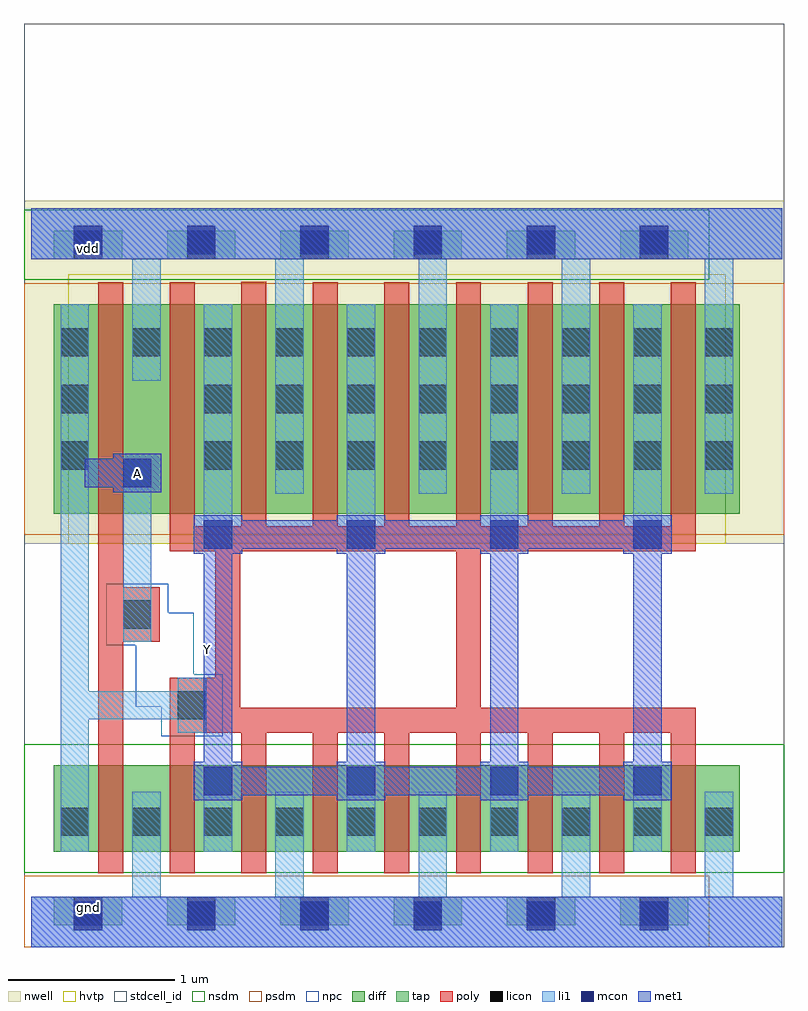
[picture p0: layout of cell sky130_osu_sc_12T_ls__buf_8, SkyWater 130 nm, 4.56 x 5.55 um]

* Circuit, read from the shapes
.subckt sky130_osu_sc_12T_ls__buf_8 A Y gnd vdd
XM1 gnd A n1 gnd sky130_fd_pr__nfet_01v8 w=0.52 l=0.15
XM2 Y n1 gnd gnd sky130_fd_pr__nfet_01v8 w=0.52 l=0.15 m=8
XM3 vdd A n1 vdd sky130_fd_pr__pfet_01v8_hvt w=1.26 l=0.15
XM4 Y n1 vdd vdd sky130_fd_pr__pfet_01v8_hvt w=1.26 l=0.15 m=8
.ends

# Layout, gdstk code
import gdstk
lib = gdstk.Library(unit=1e-6, precision=1e-09)
def R(c, l, rs):  # rectangles x0, y0, x1, y1
    for r in rs: c.add(gdstk.rectangle(r[:2], r[2:], *l))
def A(c, l, x, y, w, h, nx, ny, dx, dy):  # array of equal rectangles
    R(c, l, [(x+i*dx, y+j*dy, x+i*dx+w, y+j*dy+h) for i in range(nx) for j in range(ny)])
nwell = (64, 20)
diff = (65, 20)
tap = (65, 44)
poly = (66, 20)
licon = (66, 44)
li1 = (67, 20)
mcon = (67, 44)
met1 = (68, 20)
hvtp = (78, 44)
stdcell_id = (81, 4)
nsdm = (93, 44)
psdm = (94, 20)
npc = (95, 20)

sky130_osu_sc_12t_ls__bu = lib.new_cell('sky130_osu_sc_12T_ls__buf_8')
R(sky130_osu_sc_12t_ls__bu, nwell, [(-0.045,2.425,4.52,4.485)])
R(sky130_osu_sc_12t_ls__bu, diff, [(0.135,0.575,4.255,1.095), (0.135,2.605,4.255,3.865)])
A(sky130_osu_sc_12t_ls__bu, tap, 0.135, 0.135, 0.41, 0.17, 6, 2, 0.68, 4)
A(sky130_osu_sc_12t_ls__bu, poly, 0.83, 0.445, 0.15, 0.845, 8, 1, 0.43, 0)
A(sky130_osu_sc_12t_ls__bu, poly, 1.69, 2.53, 0.15, 1.465, 6, 1, 0.43, 0)
R(sky130_osu_sc_12t_ls__bu, poly, [(0.4,0.445,0.55,1.835), (0.83,1.29,3.99,1.44), (0.83,1.44,1.255,1.62), (2.55,1.44,2.7,2.38), (1.105,1.62,1.255,2.38), (0.4,1.835,0.77,2.165), (0.4,2.165,0.55,3.995), (0.83,2.38,3.99,2.53), (0.83,2.53,0.98,3.995), (1.26,2.53,1.41,4)])
A(sky130_osu_sc_12t_ls__bu, licon, 0.255, 0.135, 0.17, 0.17, 6, 2, 0.68, 4)
A(sky130_osu_sc_12t_ls__bu, licon, 0.175, 0.67, 0.17, 0.17, 10, 2, 0.43, 2.88)
A(sky130_osu_sc_12t_ls__bu, licon, 1.035, 2.87, 0.17, 0.17, 8, 2, 0.43, 0.34)
R(sky130_osu_sc_12t_ls__bu, licon, [(0.88,1.37,1.05,1.54), (0.55,1.915,0.72,2.085), (0.175,2.87,0.345,3.04), (0.175,3.21,0.345,3.38)])
A(sky130_osu_sc_12t_ls__bu, li1, 0.605, 0.305, 0.17, 0.63, 5, 1, 0.86, 0)
A(sky130_osu_sc_12t_ls__bu, li1, 1.035, 0.575, 0.17, 0.51, 4, 1, 0.86, 0)
A(sky130_osu_sc_12t_ls__bu, li1, 1.035, 2.395, 0.17, 1.47, 4, 1, 0.86, 0)
A(sky130_osu_sc_12t_ls__bu, li1, 1.465, 2.725, 0.17, 1.41, 4, 1, 0.86, 0)
R(sky130_osu_sc_12t_ls__bu, li1, [(0,0,4.51,0.305), (0.175,0.575,0.345,1.37), (0.88,1.29,1.05,1.37), (0.175,1.37,1.05,1.54), (0.175,1.54,0.345,3.865), (0.88,1.54,1.05,1.62), (0.55,1.835,0.72,2.935), (0.605,3.405,0.775,4.135), (0,4.135,4.51,4.44)])
A(sky130_osu_sc_12t_ls__bu, mcon, 0.255, 0.105, 0.17, 0.17, 6, 2, 0.68, 4.06)
A(sky130_osu_sc_12t_ls__bu, mcon, 1.035, 0.915, 0.17, 0.17, 4, 2, 0.86, 1.48)
R(sky130_osu_sc_12t_ls__bu, mcon, [(0.55,2.765,0.72,2.935)])
A(sky130_osu_sc_12t_ls__bu, met1, 0.975, 0.885, 0.29, 0.03, 4, 2, 0.86, 0.2)
A(sky130_osu_sc_12t_ls__bu, met1, 1.035, 1.115, 0.17, 1.25, 4, 1, 0.86, 0)
A(sky130_osu_sc_12t_ls__bu, met1, 0.975, 2.365, 0.29, 0.03, 4, 2, 0.86, 0.2)
R(sky130_osu_sc_12t_ls__bu, met1, [(0,0,4.51,0.305), (0.975,0.915,3.845,1.085), (0.975,2.395,3.845,2.565), (0.49,2.735,0.78,2.765), (0.32,2.765,0.78,2.935), (0.49,2.935,0.78,2.965), (0,4.135,4.51,4.44)])
R(sky130_osu_sc_12t_ls__bu, hvtp, [(0.22,2.425,4.17,4.045)])
R(sky130_osu_sc_12t_ls__bu, stdcell_id, [(-0.045,0,4.52,5.55)])
R(sky130_osu_sc_12t_ls__bu, nsdm, [(-0.045,0.45,4.52,1.22), (-0.045,4.01,4.07,4.43)])
R(sky130_osu_sc_12t_ls__bu, psdm, [(-0.045,0,4.07,0.43), (-0.045,2.48,4.52,3.99)])
R(sky130_osu_sc_12t_ls__bu, npc, [(0.78,1.27,1.15,1.445), (0.625,1.445,1.15,1.64), (0.625,1.64,0.975,1.815), (0.45,1.815,0.975,2.01), (0.45,2.01,0.82,2.185)])
sky130_osu_sc_12t_ls__bu.add(gdstk.Label('gnd', (0.34,0.24), layer=68, texttype=16))
sky130_osu_sc_12t_ls__bu.add(gdstk.Label('vdd', (0.34,4.2), layer=68, texttype=16))
sky130_osu_sc_12t_ls__bu.add(gdstk.Label('A', (0.635,2.85), layer=68, texttype=5))
sky130_osu_sc_12t_ls__bu.add(gdstk.Label('Y', (1.055,1.79), layer=68, texttype=5))

lib.write_gds('sky130_osu_sc_12T_ls__buf_8.gds')
